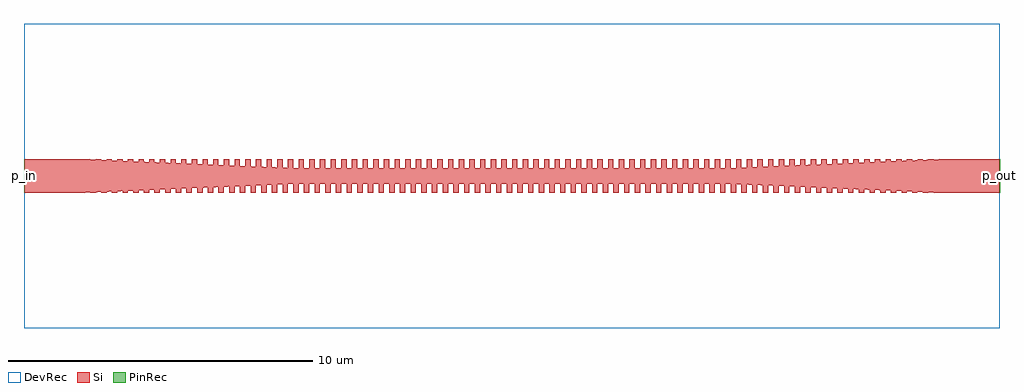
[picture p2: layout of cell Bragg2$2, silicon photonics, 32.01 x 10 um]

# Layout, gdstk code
import gdstk
lib = gdstk.Library(unit=1e-6, precision=1e-09)
def R(c, l, rs):  # rectangles x0, y0, x1, y1
    for r in rs: c.add(gdstk.rectangle(r[:2], r[2:], *l))
def P(c, l, *ps):  # polygons
    for p in ps: c.add(gdstk.Polygon(p, *l))
Si = (1, 0)
PinRec = (1, 10)
DevRec = (68, 0)

b_corr40_1_2 = lib.new_cell('B_corr40$1$2')
R(b_corr40_1_2, Si, [(15.826,-0.55,16.001,0)])

wg_1_2 = lib.new_cell('wg$1$2')
R(wg_1_2, Si, [(9,-0.26,23,0.26)])

b_corr79_1_2 = lib.new_cell('B_corr79$1$2')
R(b_corr79_1_2, Si, [(29.475,-0.55,29.65,0)])

u_corr79_1_2 = lib.new_cell('U_corr79$1$2')
R(u_corr79_1_2, Si, [(29.3,0,29.475,0.55)])

b_corr78_1_2 = lib.new_cell('B_corr78$1$2')
R(b_corr78_1_2, Si, [(29.125,-0.55,29.299,0)])

u_corr78_1_2 = lib.new_cell('U_corr78$1$2')
R(u_corr78_1_2, Si, [(28.95,0,29.125,0.55)])

b_corr77_1_2 = lib.new_cell('B_corr77$1$2')
R(b_corr77_1_2, Si, [(28.775,-0.55,28.95,0)])

u_corr77_1_2 = lib.new_cell('U_corr77$1$2')
R(u_corr77_1_2, Si, [(28.6,0,28.775,0.55)])

b_corr76_1_2 = lib.new_cell('B_corr76$1$2')
R(b_corr76_1_2, Si, [(28.425,-0.55,28.599,0)])

u_corr76_1_2 = lib.new_cell('U_corr76$1$2')
R(u_corr76_1_2, Si, [(28.25,0,28.425,0.55)])

b_corr75_1_2 = lib.new_cell('B_corr75$1$2')
R(b_corr75_1_2, Si, [(28.075,-0.55,28.25,0)])

u_corr75_1_2 = lib.new_cell('U_corr75$1$2')
R(u_corr75_1_2, Si, [(27.9,0,28.075,0.55)])

b_corr74_1_2 = lib.new_cell('B_corr74$1$2')
R(b_corr74_1_2, Si, [(27.725,-0.55,27.899,0)])

u_corr74_1_2 = lib.new_cell('U_corr74$1$2')
R(u_corr74_1_2, Si, [(27.55,0,27.725,0.55)])

b_corr73_1_2 = lib.new_cell('B_corr73$1$2')
R(b_corr73_1_2, Si, [(27.375,-0.55,27.55,0)])

u_corr73_1_2 = lib.new_cell('U_corr73$1$2')
R(u_corr73_1_2, Si, [(27.2,0,27.375,0.55)])

b_corr72_1_2 = lib.new_cell('B_corr72$1$2')
R(b_corr72_1_2, Si, [(27.025,-0.55,27.199,0)])

u_corr72_1_2 = lib.new_cell('U_corr72$1$2')
R(u_corr72_1_2, Si, [(26.85,0,27.025,0.55)])

b_corr71_1_2 = lib.new_cell('B_corr71$1$2')
R(b_corr71_1_2, Si, [(26.675,-0.55,26.85,0)])

u_corr71_1_2 = lib.new_cell('U_corr71$1$2')
R(u_corr71_1_2, Si, [(26.5,0,26.675,0.55)])

b_corr70_1_2 = lib.new_cell('B_corr70$1$2')
R(b_corr70_1_2, Si, [(26.325,-0.55,26.499,0)])

u_corr70_1_2 = lib.new_cell('U_corr70$1$2')
R(u_corr70_1_2, Si, [(26.15,0,26.325,0.55)])

b_corr69_1_2 = lib.new_cell('B_corr69$1$2')
R(b_corr69_1_2, Si, [(25.975,-0.55,26.15,0)])

u_corr69_1_2 = lib.new_cell('U_corr69$1$2')
R(u_corr69_1_2, Si, [(25.8,0,25.975,0.55)])

b_corr68_1_2 = lib.new_cell('B_corr68$1$2')
R(b_corr68_1_2, Si, [(25.625,-0.55,25.799,0)])

u_corr68_1_2 = lib.new_cell('U_corr68$1$2')
R(u_corr68_1_2, Si, [(25.45,0,25.625,0.55)])

b_corr67_1_2 = lib.new_cell('B_corr67$1$2')
R(b_corr67_1_2, Si, [(25.275,-0.55,25.45,0)])

u_corr67_1_2 = lib.new_cell('U_corr67$1$2')
R(u_corr67_1_2, Si, [(25.1,0,25.275,0.55)])

b_corr66_1_2 = lib.new_cell('B_corr66$1$2')
R(b_corr66_1_2, Si, [(24.925,-0.55,25.099,0)])

u_corr66_1_2 = lib.new_cell('U_corr66$1$2')
R(u_corr66_1_2, Si, [(24.75,0,24.925,0.55)])

b_corr65_1_2 = lib.new_cell('B_corr65$1$2')
R(b_corr65_1_2, Si, [(24.575,-0.55,24.75,0)])

u_corr65_1_2 = lib.new_cell('U_corr65$1$2')
R(u_corr65_1_2, Si, [(24.4,0,24.575,0.55)])

b_corr64_1_2 = lib.new_cell('B_corr64$1$2')
R(b_corr64_1_2, Si, [(24.225,-0.55,24.399,0)])

u_corr64_1_2 = lib.new_cell('U_corr64$1$2')
R(u_corr64_1_2, Si, [(24.05,0,24.225,0.55)])

b_corr63_1_2 = lib.new_cell('B_corr63$1$2')
R(b_corr63_1_2, Si, [(23.875,-0.55,24.05,0)])

u_corr63_1_2 = lib.new_cell('U_corr63$1$2')
R(u_corr63_1_2, Si, [(23.7,0,23.875,0.55)])

b_corr62_1_2 = lib.new_cell('B_corr62$1$2')
R(b_corr62_1_2, Si, [(23.525,-0.55,23.699,0)])

u_corr62_1_2 = lib.new_cell('U_corr62$1$2')
R(u_corr62_1_2, Si, [(23.35,0,23.525,0.55)])

b_corr61_1_2 = lib.new_cell('B_corr61$1$2')
R(b_corr61_1_2, Si, [(23.175,-0.55,23.35,0)])

u_corr61_1_2 = lib.new_cell('U_corr61$1$2')
R(u_corr61_1_2, Si, [(23,0,23.175,0.55)])

b_corr60_1_2 = lib.new_cell('B_corr60$1$2')
R(b_corr60_1_2, Si, [(22.825,-0.55,22.999,0)])

u_corr60_1_2 = lib.new_cell('U_corr60$1$2')
R(u_corr60_1_2, Si, [(22.65,0,22.825,0.55)])

b_corr59_1_2 = lib.new_cell('B_corr59$1$2')
R(b_corr59_1_2, Si, [(22.475,-0.55,22.65,0)])

u_corr59_1_2 = lib.new_cell('U_corr59$1$2')
R(u_corr59_1_2, Si, [(22.3,0,22.475,0.55)])

b_corr58_1_2 = lib.new_cell('B_corr58$1$2')
R(b_corr58_1_2, Si, [(22.125,-0.55,22.299,0)])

u_corr58_1_2 = lib.new_cell('U_corr58$1$2')
R(u_corr58_1_2, Si, [(21.95,0,22.125,0.55)])

b_corr57_1_2 = lib.new_cell('B_corr57$1$2')
R(b_corr57_1_2, Si, [(21.775,-0.55,21.95,0)])

u_corr57_1_2 = lib.new_cell('U_corr57$1$2')
R(u_corr57_1_2, Si, [(21.6,0,21.775,0.55)])

b_corr56_1_2 = lib.new_cell('B_corr56$1$2')
R(b_corr56_1_2, Si, [(21.425,-0.55,21.599,0)])

u_corr56_1_2 = lib.new_cell('U_corr56$1$2')
R(u_corr56_1_2, Si, [(21.25,0,21.425,0.55)])

b_corr55_1_2 = lib.new_cell('B_corr55$1$2')
R(b_corr55_1_2, Si, [(21.075,-0.55,21.25,0)])

u_corr55_1_2 = lib.new_cell('U_corr55$1$2')
R(u_corr55_1_2, Si, [(20.9,0,21.075,0.55)])

b_corr54_1_2 = lib.new_cell('B_corr54$1$2')
R(b_corr54_1_2, Si, [(20.725,-0.55,20.899,0)])

u_corr54_1_2 = lib.new_cell('U_corr54$1$2')
R(u_corr54_1_2, Si, [(20.55,0,20.725,0.55)])

b_corr53_1_2 = lib.new_cell('B_corr53$1$2')
R(b_corr53_1_2, Si, [(20.375,-0.55,20.55,0)])

u_corr53_1_2 = lib.new_cell('U_corr53$1$2')
R(u_corr53_1_2, Si, [(20.2,0,20.375,0.55)])

b_corr52_1_2 = lib.new_cell('B_corr52$1$2')
R(b_corr52_1_2, Si, [(20.025,-0.55,20.199,0)])

u_corr52_1_2 = lib.new_cell('U_corr52$1$2')
R(u_corr52_1_2, Si, [(19.85,0,20.025,0.55)])

b_corr51_1_2 = lib.new_cell('B_corr51$1$2')
R(b_corr51_1_2, Si, [(19.675,-0.55,19.85,0)])

u_corr51_1_2 = lib.new_cell('U_corr51$1$2')
R(u_corr51_1_2, Si, [(19.5,0,19.675,0.55)])

b_corr50_1_2 = lib.new_cell('B_corr50$1$2')
R(b_corr50_1_2, Si, [(19.325,-0.55,19.499,0)])

u_corr50_1_2 = lib.new_cell('U_corr50$1$2')
R(u_corr50_1_2, Si, [(19.15,0,19.325,0.55)])

b_corr49_1_2 = lib.new_cell('B_corr49$1$2')
R(b_corr49_1_2, Si, [(18.975,-0.55,19.15,0)])

u_corr49_1_2 = lib.new_cell('U_corr49$1$2')
R(u_corr49_1_2, Si, [(18.8,0,18.974,0.55)])

b_corr48_1_2 = lib.new_cell('B_corr48$1$2')
R(b_corr48_1_2, Si, [(18.625,-0.55,18.799,0)])

u_corr48_1_2 = lib.new_cell('U_corr48$1$2')
R(u_corr48_1_2, Si, [(18.45,0,18.625,0.55)])

b_corr47_1_2 = lib.new_cell('B_corr47$1$2')
R(b_corr47_1_2, Si, [(18.275,-0.55,18.45,0)])

u_corr47_1_2 = lib.new_cell('U_corr47$1$2')
R(u_corr47_1_2, Si, [(18.1,0,18.274,0.55)])

b_corr46_1_2 = lib.new_cell('B_corr46$1$2')
R(b_corr46_1_2, Si, [(17.925,-0.55,18.099,0)])

u_corr46_1_2 = lib.new_cell('U_corr46$1$2')
R(u_corr46_1_2, Si, [(17.75,0,17.925,0.55)])

b_corr45_1_2 = lib.new_cell('B_corr45$1$2')
R(b_corr45_1_2, Si, [(17.575,-0.55,17.75,0)])

u_corr45_1_2 = lib.new_cell('U_corr45$1$2')
R(u_corr45_1_2, Si, [(17.4,0,17.574,0.55)])

b_corr44_1_2 = lib.new_cell('B_corr44$1$2')
R(b_corr44_1_2, Si, [(17.225,-0.55,17.399,0)])

u_corr44_1_2 = lib.new_cell('U_corr44$1$2')
R(u_corr44_1_2, Si, [(17.05,0,17.225,0.55)])

b_corr43_1_2 = lib.new_cell('B_corr43$1$2')
R(b_corr43_1_2, Si, [(16.875,-0.55,17.05,0)])

u_corr43_1_2 = lib.new_cell('U_corr43$1$2')
R(u_corr43_1_2, Si, [(16.7,0,16.874,0.55)])

b_corr42_1_2 = lib.new_cell('B_corr42$1$2')
R(b_corr42_1_2, Si, [(16.526,-0.55,16.701,0)])

u_corr42_1_2 = lib.new_cell('U_corr42$1$2')
R(u_corr42_1_2, Si, [(16.351,0,16.526,0.55)])

b_corr41_1_2 = lib.new_cell('B_corr41$1$2')
R(b_corr41_1_2, Si, [(16.176,-0.55,16.35,0)])

u_corr41_1_2 = lib.new_cell('U_corr41$1$2')
R(u_corr41_1_2, Si, [(16.001,0,16.176,0.55)])

b_corr80_1_2 = lib.new_cell('B_corr80$1$2')
R(b_corr80_1_2, Si, [(29.825,-0.55,29.999,0)])

wg_out_1_2 = lib.new_cell('wg_Out$1$2')
R(wg_out_1_2, Si, [(30,-0.55,32,0.55)])

taper_out_1_2 = lib.new_cell('taper_out$1$2')
P(taper_out_1_2, Si, [(30,-0.55),(23,-0.26),(23,0.26),(30,0.55)])

u_corr80_1_2 = lib.new_cell('U_corr80$1$2')
R(u_corr80_1_2, Si, [(29.65,0,29.825,0.55)])

b_corr38_1_2 = lib.new_cell('B_corr38$1$2')
R(b_corr38_1_2, Si, [(15.126,-0.55,15.301,0)])

u_corr38_1_2 = lib.new_cell('U_corr38$1$2')
R(u_corr38_1_2, Si, [(14.951,0,15.126,0.55)])

b_corr37_1_2 = lib.new_cell('B_corr37$1$2')
R(b_corr37_1_2, Si, [(14.776,-0.55,14.951,0)])

u_corr37_1_2 = lib.new_cell('U_corr37$1$2')
R(u_corr37_1_2, Si, [(14.601,0,14.776,0.55)])

b_corr36_1_2 = lib.new_cell('B_corr36$1$2')
R(b_corr36_1_2, Si, [(14.426,-0.55,14.601,0)])

u_corr36_1_2 = lib.new_cell('U_corr36$1$2')
R(u_corr36_1_2, Si, [(14.251,0,14.426,0.55)])

b_corr35_1_2 = lib.new_cell('B_corr35$1$2')
R(b_corr35_1_2, Si, [(14.076,-0.55,14.251,0)])

u_corr35_1_2 = lib.new_cell('U_corr35$1$2')
R(u_corr35_1_2, Si, [(13.901,0,14.076,0.55)])

b_corr34_1_2 = lib.new_cell('B_corr34$1$2')
R(b_corr34_1_2, Si, [(13.726,-0.55,13.901,0)])

u_corr34_1_2 = lib.new_cell('U_corr34$1$2')
R(u_corr34_1_2, Si, [(13.551,0,13.726,0.55)])

b_corr33_1_2 = lib.new_cell('B_corr33$1$2')
R(b_corr33_1_2, Si, [(13.376,-0.55,13.551,0)])

u_corr33_1_2 = lib.new_cell('U_corr33$1$2')
R(u_corr33_1_2, Si, [(13.201,0,13.376,0.55)])

b_corr32_1_2 = lib.new_cell('B_corr32$1$2')
R(b_corr32_1_2, Si, [(13.026,-0.55,13.201,0)])

u_corr32_1_2 = lib.new_cell('U_corr32$1$2')
R(u_corr32_1_2, Si, [(12.851,0,13.026,0.55)])

b_corr31_1_2 = lib.new_cell('B_corr31$1$2')
R(b_corr31_1_2, Si, [(12.676,-0.55,12.851,0)])

u_corr31_1_2 = lib.new_cell('U_corr31$1$2')
R(u_corr31_1_2, Si, [(12.501,0,12.676,0.55)])

b_corr30_1_2 = lib.new_cell('B_corr30$1$2')
R(b_corr30_1_2, Si, [(12.326,-0.55,12.501,0)])

u_corr30_1_2 = lib.new_cell('U_corr30$1$2')
R(u_corr30_1_2, Si, [(12.151,0,12.326,0.55)])

b_corr29_1_2 = lib.new_cell('B_corr29$1$2')
R(b_corr29_1_2, Si, [(11.976,-0.55,12.151,0)])

u_corr29_1_2 = lib.new_cell('U_corr29$1$2')
R(u_corr29_1_2, Si, [(11.801,0,11.976,0.55)])

b_corr28_1_2 = lib.new_cell('B_corr28$1$2')
R(b_corr28_1_2, Si, [(11.626,-0.55,11.801,0)])

u_corr28_1_2 = lib.new_cell('U_corr28$1$2')
R(u_corr28_1_2, Si, [(11.451,0,11.626,0.55)])

b_corr27_1_2 = lib.new_cell('B_corr27$1$2')
R(b_corr27_1_2, Si, [(11.276,-0.55,11.451,0)])

u_corr27_1_2 = lib.new_cell('U_corr27$1$2')
R(u_corr27_1_2, Si, [(11.1,0,11.275,0.55)])

b_corr26_1_2 = lib.new_cell('B_corr26$1$2')
R(b_corr26_1_2, Si, [(10.925,-0.55,11.1,0)])

u_corr26_1_2 = lib.new_cell('U_corr26$1$2')
R(u_corr26_1_2, Si, [(10.75,0,10.925,0.55)])

b_corr25_1_2 = lib.new_cell('B_corr25$1$2')
R(b_corr25_1_2, Si, [(10.575,-0.55,10.75,0)])

u_corr25_1_2 = lib.new_cell('U_corr25$1$2')
R(u_corr25_1_2, Si, [(10.4,0,10.575,0.55)])

b_corr24_1_2 = lib.new_cell('B_corr24$1$2')
R(b_corr24_1_2, Si, [(10.225,-0.55,10.4,0)])

u_corr24_1_2 = lib.new_cell('U_corr24$1$2')
R(u_corr24_1_2, Si, [(10.05,0,10.225,0.55)])

b_corr23_1_2 = lib.new_cell('B_corr23$1$2')
R(b_corr23_1_2, Si, [(9.875,-0.55,10.05,0)])

u_corr23_1_2 = lib.new_cell('U_corr23$1$2')
R(u_corr23_1_2, Si, [(9.7,0,9.875,0.55)])

b_corr22_1_2 = lib.new_cell('B_corr22$1$2')
R(b_corr22_1_2, Si, [(9.525,-0.55,9.7,0)])

u_corr22_1_2 = lib.new_cell('U_corr22$1$2')
R(u_corr22_1_2, Si, [(9.35,0,9.525,0.55)])

b_corr21_1_2 = lib.new_cell('B_corr21$1$2')
R(b_corr21_1_2, Si, [(9.175,-0.55,9.35,0)])

u_corr21_1_2 = lib.new_cell('U_corr21$1$2')
R(u_corr21_1_2, Si, [(9,0,9.175,0.55)])

b_corr20_1_2 = lib.new_cell('B_corr20$1$2')
R(b_corr20_1_2, Si, [(8.825,-0.55,9,0)])

u_corr20_1_2 = lib.new_cell('U_corr20$1$2')
R(u_corr20_1_2, Si, [(8.65,0,8.825,0.55)])

b_corr19_1_2 = lib.new_cell('B_corr19$1$2')
R(b_corr19_1_2, Si, [(8.475,-0.55,8.65,0)])

u_corr19_1_2 = lib.new_cell('U_corr19$1$2')
R(u_corr19_1_2, Si, [(8.3,0,8.475,0.55)])

b_corr18_1_2 = lib.new_cell('B_corr18$1$2')
R(b_corr18_1_2, Si, [(8.124,-0.55,8.3,0)])

u_corr18_1_2 = lib.new_cell('U_corr18$1$2')
R(u_corr18_1_2, Si, [(7.95,0,8.125,0.55)])

b_corr17_1_2 = lib.new_cell('B_corr17$1$2')
R(b_corr17_1_2, Si, [(7.774,-0.55,7.95,0)])

u_corr17_1_2 = lib.new_cell('U_corr17$1$2')
R(u_corr17_1_2, Si, [(7.6,0,7.775,0.55)])

b_corr16_1_2 = lib.new_cell('B_corr16$1$2')
R(b_corr16_1_2, Si, [(7.424,-0.55,7.6,0)])

u_corr16_1_2 = lib.new_cell('U_corr16$1$2')
R(u_corr16_1_2, Si, [(7.25,0,7.424,0.55)])

b_corr15_1_2 = lib.new_cell('B_corr15$1$2')
R(b_corr15_1_2, Si, [(7.074,-0.55,7.25,0)])

u_corr15_1_2 = lib.new_cell('U_corr15$1$2')
R(u_corr15_1_2, Si, [(6.9,0,7.074,0.55)])

b_corr14_1_2 = lib.new_cell('B_corr14$1$2')
R(b_corr14_1_2, Si, [(6.724,-0.55,6.9,0)])

u_corr14_1_2 = lib.new_cell('U_corr14$1$2')
R(u_corr14_1_2, Si, [(6.55,0,6.724,0.55)])

b_corr13_1_2 = lib.new_cell('B_corr13$1$2')
R(b_corr13_1_2, Si, [(6.374,-0.55,6.55,0)])

u_corr13_1_2 = lib.new_cell('U_corr13$1$2')
R(u_corr13_1_2, Si, [(6.2,0,6.374,0.55)])

b_corr12_1_2 = lib.new_cell('B_corr12$1$2')
R(b_corr12_1_2, Si, [(6.024,-0.55,6.2,0)])

u_corr12_1_2 = lib.new_cell('U_corr12$1$2')
R(u_corr12_1_2, Si, [(5.85,0,6.024,0.55)])

b_corr11_1_2 = lib.new_cell('B_corr11$1$2')
R(b_corr11_1_2, Si, [(5.674,-0.55,5.85,0)])

u_corr11_1_2 = lib.new_cell('U_corr11$1$2')
R(u_corr11_1_2, Si, [(5.5,0,5.674,0.55)])

b_corr10_1_2 = lib.new_cell('B_corr10$1$2')
R(b_corr10_1_2, Si, [(5.324,-0.55,5.5,0)])

u_corr10_1_2 = lib.new_cell('U_corr10$1$2')
R(u_corr10_1_2, Si, [(5.15,0,5.324,0.55)])

b_corr9_1_2 = lib.new_cell('B_corr9$1$2')
R(b_corr9_1_2, Si, [(4.974,-0.55,5.15,0)])

u_corr9_1_2 = lib.new_cell('U_corr9$1$2')
R(u_corr9_1_2, Si, [(4.8,0,4.974,0.55)])

b_corr8_1_2 = lib.new_cell('B_corr8$1$2')
R(b_corr8_1_2, Si, [(4.624,-0.55,4.8,0)])

u_corr8_1_2 = lib.new_cell('U_corr8$1$2')
R(u_corr8_1_2, Si, [(4.45,0,4.624,0.55)])

b_corr7_1_2 = lib.new_cell('B_corr7$1$2')
R(b_corr7_1_2, Si, [(4.274,-0.55,4.45,0)])

u_corr7_1_2 = lib.new_cell('U_corr7$1$2')
R(u_corr7_1_2, Si, [(4.1,0,4.274,0.55)])

b_corr6_1_2 = lib.new_cell('B_corr6$1$2')
R(b_corr6_1_2, Si, [(3.924,-0.55,4.1,0)])

u_corr6_1_2 = lib.new_cell('U_corr6$1$2')
R(u_corr6_1_2, Si, [(3.751,0,3.925,0.55)])

b_corr5_1_2 = lib.new_cell('B_corr5$1$2')
R(b_corr5_1_2, Si, [(3.576,-0.55,3.751,0)])

u_corr5_1_2 = lib.new_cell('U_corr5$1$2')
R(u_corr5_1_2, Si, [(3.401,0,3.576,0.55)])

b_corr4_1_2 = lib.new_cell('B_corr4$1$2')
R(b_corr4_1_2, Si, [(3.226,-0.55,3.401,0)])

u_corr4_1_2 = lib.new_cell('U_corr4$1$2')
R(u_corr4_1_2, Si, [(3.051,0,3.226,0.55)])

b_corr3_1_2 = lib.new_cell('B_corr3$1$2')
R(b_corr3_1_2, Si, [(2.876,-0.55,3.051,0)])

u_corr3_1_2 = lib.new_cell('U_corr3$1$2')
R(u_corr3_1_2, Si, [(2.701,0,2.876,0.55)])

b_corr2_1_2 = lib.new_cell('B_corr2$1$2')
R(b_corr2_1_2, Si, [(2.526,-0.55,2.701,0)])

u_corr2_1_2 = lib.new_cell('U_corr2$1$2')
R(u_corr2_1_2, Si, [(2.351,0,2.526,0.55)])

b_corr1_1_2 = lib.new_cell('B_corr1$1$2')
R(b_corr1_1_2, Si, [(2.176,-0.55,2.351,0)])

u_corr1_1_2 = lib.new_cell('U_corr1$1$2')
R(u_corr1_1_2, Si, [(2.001,0,2.176,0.55)])

u_corr40_1_2 = lib.new_cell('U_corr40$1$2')
R(u_corr40_1_2, Si, [(15.651,0,15.825,0.55)])

b_corr39_1_2 = lib.new_cell('B_corr39$1$2')
R(b_corr39_1_2, Si, [(15.476,-0.55,15.65,0)])

u_corr39_1_2 = lib.new_cell('U_corr39$1$2')
R(u_corr39_1_2, Si, [(15.301,0,15.476,0.55)])

taper_in_1_2 = lib.new_cell('taper_In$1$2')
P(taper_in_1_2, Si, [(2,-0.55),(2,0.55),(9,0.26),(9,-0.26)])

wg_in_1_2 = lib.new_cell('wg_In$1$2')
R(wg_in_1_2, Si, [(0,-0.55,2,0.55)])

mm_bragg_1_2 = lib.new_cell('MM_Bragg$1$2')
mm_bragg_1_2.add(gdstk.Reference(b_corr40_1_2, (0,0)))
mm_bragg_1_2.add(gdstk.Reference(wg_1_2, (0,0)))
mm_bragg_1_2.add(gdstk.Reference(b_corr79_1_2, (0,0)))
mm_bragg_1_2.add(gdstk.Reference(u_corr79_1_2, (0,0)))
mm_bragg_1_2.add(gdstk.Reference(b_corr78_1_2, (0,0)))
mm_bragg_1_2.add(gdstk.Reference(u_corr78_1_2, (0,0)))
mm_bragg_1_2.add(gdstk.Reference(b_corr77_1_2, (0,0)))
mm_bragg_1_2.add(gdstk.Reference(u_corr77_1_2, (0,0)))
mm_bragg_1_2.add(gdstk.Reference(b_corr76_1_2, (0,0)))
mm_bragg_1_2.add(gdstk.Reference(u_corr76_1_2, (0,0)))
mm_bragg_1_2.add(gdstk.Reference(b_corr75_1_2, (0,0)))
mm_bragg_1_2.add(gdstk.Reference(u_corr75_1_2, (0,0)))
mm_bragg_1_2.add(gdstk.Reference(b_corr74_1_2, (0,0)))
mm_bragg_1_2.add(gdstk.Reference(u_corr74_1_2, (0,0)))
mm_bragg_1_2.add(gdstk.Reference(b_corr73_1_2, (0,0)))
mm_bragg_1_2.add(gdstk.Reference(u_corr73_1_2, (0,0)))
mm_bragg_1_2.add(gdstk.Reference(b_corr72_1_2, (0,0)))
mm_bragg_1_2.add(gdstk.Reference(u_corr72_1_2, (0,0)))
mm_bragg_1_2.add(gdstk.Reference(b_corr71_1_2, (0,0)))
mm_bragg_1_2.add(gdstk.Reference(u_corr71_1_2, (0,0)))
mm_bragg_1_2.add(gdstk.Reference(b_corr70_1_2, (0,0)))
mm_bragg_1_2.add(gdstk.Reference(u_corr70_1_2, (0,0)))
mm_bragg_1_2.add(gdstk.Reference(b_corr69_1_2, (0,0)))
mm_bragg_1_2.add(gdstk.Reference(u_corr69_1_2, (0,0)))
mm_bragg_1_2.add(gdstk.Reference(b_corr68_1_2, (0,0)))
mm_bragg_1_2.add(gdstk.Reference(u_corr68_1_2, (0,0)))
mm_bragg_1_2.add(gdstk.Reference(b_corr67_1_2, (0,0)))
mm_bragg_1_2.add(gdstk.Reference(u_corr67_1_2, (0,0)))
mm_bragg_1_2.add(gdstk.Reference(b_corr66_1_2, (0,0)))
mm_bragg_1_2.add(gdstk.Reference(u_corr66_1_2, (0,0)))
mm_bragg_1_2.add(gdstk.Reference(b_corr65_1_2, (0,0)))
mm_bragg_1_2.add(gdstk.Reference(u_corr65_1_2, (0,0)))
mm_bragg_1_2.add(gdstk.Reference(b_corr64_1_2, (0,0)))
mm_bragg_1_2.add(gdstk.Reference(u_corr64_1_2, (0,0)))
mm_bragg_1_2.add(gdstk.Reference(b_corr63_1_2, (0,0)))
mm_bragg_1_2.add(gdstk.Reference(u_corr63_1_2, (0,0)))
mm_bragg_1_2.add(gdstk.Reference(b_corr62_1_2, (0,0)))
mm_bragg_1_2.add(gdstk.Reference(u_corr62_1_2, (0,0)))
mm_bragg_1_2.add(gdstk.Reference(b_corr61_1_2, (0,0)))
mm_bragg_1_2.add(gdstk.Reference(u_corr61_1_2, (0,0)))
mm_bragg_1_2.add(gdstk.Reference(b_corr60_1_2, (0,0)))
mm_bragg_1_2.add(gdstk.Reference(u_corr60_1_2, (0,0)))
mm_bragg_1_2.add(gdstk.Reference(b_corr59_1_2, (0,0)))
mm_bragg_1_2.add(gdstk.Reference(u_corr59_1_2, (0,0)))
mm_bragg_1_2.add(gdstk.Reference(b_corr58_1_2, (0,0)))
mm_bragg_1_2.add(gdstk.Reference(u_corr58_1_2, (0,0)))
mm_bragg_1_2.add(gdstk.Reference(b_corr57_1_2, (0,0)))
mm_bragg_1_2.add(gdstk.Reference(u_corr57_1_2, (0,0)))
mm_bragg_1_2.add(gdstk.Reference(b_corr56_1_2, (0,0)))
mm_bragg_1_2.add(gdstk.Reference(u_corr56_1_2, (0,0)))
mm_bragg_1_2.add(gdstk.Reference(b_corr55_1_2, (0,0)))
mm_bragg_1_2.add(gdstk.Reference(u_corr55_1_2, (0,0)))
mm_bragg_1_2.add(gdstk.Reference(b_corr54_1_2, (0,0)))
mm_bragg_1_2.add(gdstk.Reference(u_corr54_1_2, (0,0)))
mm_bragg_1_2.add(gdstk.Reference(b_corr53_1_2, (0,0)))
mm_bragg_1_2.add(gdstk.Reference(u_corr53_1_2, (0,0)))
mm_bragg_1_2.add(gdstk.Reference(b_corr52_1_2, (0,0)))
mm_bragg_1_2.add(gdstk.Reference(u_corr52_1_2, (0,0)))
mm_bragg_1_2.add(gdstk.Reference(b_corr51_1_2, (0,0)))
mm_bragg_1_2.add(gdstk.Reference(u_corr51_1_2, (0,0)))
mm_bragg_1_2.add(gdstk.Reference(b_corr50_1_2, (0,0)))
mm_bragg_1_2.add(gdstk.Reference(u_corr50_1_2, (0,0)))
mm_bragg_1_2.add(gdstk.Reference(b_corr49_1_2, (0,0)))
mm_bragg_1_2.add(gdstk.Reference(u_corr49_1_2, (0,0)))
mm_bragg_1_2.add(gdstk.Reference(b_corr48_1_2, (0,0)))
mm_bragg_1_2.add(gdstk.Reference(u_corr48_1_2, (0,0)))
mm_bragg_1_2.add(gdstk.Reference(b_corr47_1_2, (0,0)))
mm_bragg_1_2.add(gdstk.Reference(u_corr47_1_2, (0,0)))
mm_bragg_1_2.add(gdstk.Reference(b_corr46_1_2, (0,0)))
mm_bragg_1_2.add(gdstk.Reference(u_corr46_1_2, (0,0)))
mm_bragg_1_2.add(gdstk.Reference(b_corr45_1_2, (0,0)))
mm_bragg_1_2.add(gdstk.Reference(u_corr45_1_2, (0,0)))
mm_bragg_1_2.add(gdstk.Reference(b_corr44_1_2, (0,0)))
mm_bragg_1_2.add(gdstk.Reference(u_corr44_1_2, (0,0)))
mm_bragg_1_2.add(gdstk.Reference(b_corr43_1_2, (0,0)))
mm_bragg_1_2.add(gdstk.Reference(u_corr43_1_2, (0,0)))
mm_bragg_1_2.add(gdstk.Reference(b_corr42_1_2, (0,0)))
mm_bragg_1_2.add(gdstk.Reference(u_corr42_1_2, (0,0)))
mm_bragg_1_2.add(gdstk.Reference(b_corr41_1_2, (0,0)))
mm_bragg_1_2.add(gdstk.Reference(u_corr41_1_2, (0,0)))
mm_bragg_1_2.add(gdstk.Reference(b_corr80_1_2, (0,0)))
mm_bragg_1_2.add(gdstk.Reference(wg_out_1_2, (0,0)))
mm_bragg_1_2.add(gdstk.Reference(taper_out_1_2, (0,0)))
mm_bragg_1_2.add(gdstk.Reference(u_corr80_1_2, (0,0)))
mm_bragg_1_2.add(gdstk.Reference(b_corr38_1_2, (0,0)))
mm_bragg_1_2.add(gdstk.Reference(u_corr38_1_2, (0,0)))
mm_bragg_1_2.add(gdstk.Reference(b_corr37_1_2, (0,0)))
mm_bragg_1_2.add(gdstk.Reference(u_corr37_1_2, (0,0)))
mm_bragg_1_2.add(gdstk.Reference(b_corr36_1_2, (0,0)))
mm_bragg_1_2.add(gdstk.Reference(u_corr36_1_2, (0,0)))
mm_bragg_1_2.add(gdstk.Reference(b_corr35_1_2, (0,0)))
mm_bragg_1_2.add(gdstk.Reference(u_corr35_1_2, (0,0)))
mm_bragg_1_2.add(gdstk.Reference(b_corr34_1_2, (0,0)))
mm_bragg_1_2.add(gdstk.Reference(u_corr34_1_2, (0,0)))
mm_bragg_1_2.add(gdstk.Reference(b_corr33_1_2, (0,0)))
mm_bragg_1_2.add(gdstk.Reference(u_corr33_1_2, (0,0)))
mm_bragg_1_2.add(gdstk.Reference(b_corr32_1_2, (0,0)))
mm_bragg_1_2.add(gdstk.Reference(u_corr32_1_2, (0,0)))
mm_bragg_1_2.add(gdstk.Reference(b_corr31_1_2, (0,0)))
mm_bragg_1_2.add(gdstk.Reference(u_corr31_1_2, (0,0)))
mm_bragg_1_2.add(gdstk.Reference(b_corr30_1_2, (0,0)))
mm_bragg_1_2.add(gdstk.Reference(u_corr30_1_2, (0,0)))
mm_bragg_1_2.add(gdstk.Reference(b_corr29_1_2, (0,0)))
mm_bragg_1_2.add(gdstk.Reference(u_corr29_1_2, (0,0)))
mm_bragg_1_2.add(gdstk.Reference(b_corr28_1_2, (0,0)))
mm_bragg_1_2.add(gdstk.Reference(u_corr28_1_2, (0,0)))
mm_bragg_1_2.add(gdstk.Reference(b_corr27_1_2, (0,0)))
mm_bragg_1_2.add(gdstk.Reference(u_corr27_1_2, (0,0)))
mm_bragg_1_2.add(gdstk.Reference(b_corr26_1_2, (0,0)))
mm_bragg_1_2.add(gdstk.Reference(u_corr26_1_2, (0,0)))
mm_bragg_1_2.add(gdstk.Reference(b_corr25_1_2, (0,0)))
mm_bragg_1_2.add(gdstk.Reference(u_corr25_1_2, (0,0)))
mm_bragg_1_2.add(gdstk.Reference(b_corr24_1_2, (0,0)))
mm_bragg_1_2.add(gdstk.Reference(u_corr24_1_2, (0,0)))
mm_bragg_1_2.add(gdstk.Reference(b_corr23_1_2, (0,0)))
mm_bragg_1_2.add(gdstk.Reference(u_corr23_1_2, (0,0)))
mm_bragg_1_2.add(gdstk.Reference(b_corr22_1_2, (0,0)))
mm_bragg_1_2.add(gdstk.Reference(u_corr22_1_2, (0,0)))
mm_bragg_1_2.add(gdstk.Reference(b_corr21_1_2, (0,0)))
mm_bragg_1_2.add(gdstk.Reference(u_corr21_1_2, (0,0)))
mm_bragg_1_2.add(gdstk.Reference(b_corr20_1_2, (0,0)))
mm_bragg_1_2.add(gdstk.Reference(u_corr20_1_2, (0,0)))
mm_bragg_1_2.add(gdstk.Reference(b_corr19_1_2, (0,0)))
mm_bragg_1_2.add(gdstk.Reference(u_corr19_1_2, (0,0)))
mm_bragg_1_2.add(gdstk.Reference(b_corr18_1_2, (0,0)))
mm_bragg_1_2.add(gdstk.Reference(u_corr18_1_2, (0,0)))
mm_bragg_1_2.add(gdstk.Reference(b_corr17_1_2, (0,0)))
mm_bragg_1_2.add(gdstk.Reference(u_corr17_1_2, (0,0)))
mm_bragg_1_2.add(gdstk.Reference(b_corr16_1_2, (0,0)))
mm_bragg_1_2.add(gdstk.Reference(u_corr16_1_2, (0,0)))
mm_bragg_1_2.add(gdstk.Reference(b_corr15_1_2, (0,0)))
mm_bragg_1_2.add(gdstk.Reference(u_corr15_1_2, (0,0)))
mm_bragg_1_2.add(gdstk.Reference(b_corr14_1_2, (0,0)))
mm_bragg_1_2.add(gdstk.Reference(u_corr14_1_2, (0,0)))
mm_bragg_1_2.add(gdstk.Reference(b_corr13_1_2, (0,0)))
mm_bragg_1_2.add(gdstk.Reference(u_corr13_1_2, (0,0)))
mm_bragg_1_2.add(gdstk.Reference(b_corr12_1_2, (0,0)))
mm_bragg_1_2.add(gdstk.Reference(u_corr12_1_2, (0,0)))
mm_bragg_1_2.add(gdstk.Reference(b_corr11_1_2, (0,0)))
mm_bragg_1_2.add(gdstk.Reference(u_corr11_1_2, (0,0)))
mm_bragg_1_2.add(gdstk.Reference(b_corr10_1_2, (0,0)))
mm_bragg_1_2.add(gdstk.Reference(u_corr10_1_2, (0,0)))
mm_bragg_1_2.add(gdstk.Reference(b_corr9_1_2, (0,0)))
mm_bragg_1_2.add(gdstk.Reference(u_corr9_1_2, (0,0)))
mm_bragg_1_2.add(gdstk.Reference(b_corr8_1_2, (0,0)))
mm_bragg_1_2.add(gdstk.Reference(u_corr8_1_2, (0,0)))
mm_bragg_1_2.add(gdstk.Reference(b_corr7_1_2, (0,0)))
mm_bragg_1_2.add(gdstk.Reference(u_corr7_1_2, (0,0)))
mm_bragg_1_2.add(gdstk.Reference(b_corr6_1_2, (0,0)))
mm_bragg_1_2.add(gdstk.Reference(u_corr6_1_2, (0,0)))
mm_bragg_1_2.add(gdstk.Reference(b_corr5_1_2, (0,0)))
mm_bragg_1_2.add(gdstk.Reference(u_corr5_1_2, (0,0)))
mm_bragg_1_2.add(gdstk.Reference(b_corr4_1_2, (0,0)))
mm_bragg_1_2.add(gdstk.Reference(u_corr4_1_2, (0,0)))
mm_bragg_1_2.add(gdstk.Reference(b_corr3_1_2, (0,0)))
mm_bragg_1_2.add(gdstk.Reference(u_corr3_1_2, (0,0)))
mm_bragg_1_2.add(gdstk.Reference(b_corr2_1_2, (0,0)))
mm_bragg_1_2.add(gdstk.Reference(u_corr2_1_2, (0,0)))
mm_bragg_1_2.add(gdstk.Reference(b_corr1_1_2, (0,0)))
mm_bragg_1_2.add(gdstk.Reference(u_corr1_1_2, (0,0)))
mm_bragg_1_2.add(gdstk.Reference(u_corr40_1_2, (0,0)))
mm_bragg_1_2.add(gdstk.Reference(b_corr39_1_2, (0,0)))
mm_bragg_1_2.add(gdstk.Reference(u_corr39_1_2, (0,0)))
mm_bragg_1_2.add(gdstk.Reference(taper_in_1_2, (0,0)))
mm_bragg_1_2.add(gdstk.Reference(wg_in_1_2, (0,0)))

bragg2_2 = lib.new_cell('Bragg2$2')
R(bragg2_2, DevRec, [(0,-5,32,5)])
bragg2_2.add(gdstk.FlexPath([(0.005,0),(-0.005,0)], 1.1, ends="flush", simple_path=True, layer=1, datatype=10))  # PinRec
bragg2_2.add(gdstk.FlexPath([(31.995,0),(32.005,0)], 1.1, ends="flush", simple_path=True, layer=1, datatype=10))  # PinRec
bragg2_2.add(gdstk.Reference(mm_bragg_1_2, (0,0)))
bragg2_2.add(gdstk.Label('p_in', (0,0), layer=1, texttype=10))
bragg2_2.add(gdstk.Label('p_out', (32,0), layer=1, texttype=10))

lib.write_gds('Bragg2_2.gds')
